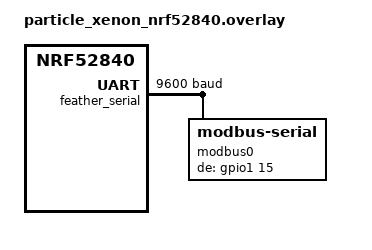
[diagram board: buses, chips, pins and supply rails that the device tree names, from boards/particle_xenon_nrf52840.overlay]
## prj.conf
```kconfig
CONFIG_LOG=y
CONFIG_USE_SEGGER_RTT=y
CONFIG_RTT_CONSOLE=y
CONFIG_UART_CONSOLE=n
CONFIG_GPIO=y
CONFIG_SERIAL=y
CONFIG_UART_INTERRUPT_DRIVEN=y
CONFIG_UART_LINE_CTRL=n

CONFIG_MODBUS=y
CONFIG_MODBUS_ROLE_CLIENT=y

CONFIG_MODBUS_LOG_LEVEL_DBG=y
```

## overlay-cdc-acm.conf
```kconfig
CONFIG_USB_DEVICE_STACK=y
CONFIG_USB_DEVICE_PRODUCT="Zephyr CDC ACM MODBUS sample"
CONFIG_UART_LINE_CTRL=n
CONFIG_USB_DEVICE_INITIALIZE_AT_BOOT=y
```

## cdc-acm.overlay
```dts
/ {
	chosen {
		zephyr,console = &cdc_acm_uart0;
		zephyr,shell-uart = &cdc_acm_uart0;
	};
};

&zephyr_udc0 {
	cdc_acm_uart0: cdc_acm_uart0 {
		compatible = "zephyr,cdc-acm-uart";

	};
};
```

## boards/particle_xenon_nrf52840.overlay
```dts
&feather_serial {
	status = "okay";
    current-speed = <9600>;

	modbus0 {
		compatible = "zephyr,modbus-serial";
		status = "okay";
		de-gpios = <&gpio1 15 GPIO_ACTIVE_HIGH>;	/* D13 */
	};
};
```

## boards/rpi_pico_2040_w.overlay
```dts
&uart1 {
    status = "okay";
    current-speed = <9600>;
    pinctrl-0 = <&uart1_default>;
    pinctrl-names = "default";

    modbus0 {
        compatible = "zephyr,modbus-serial";
        status = "okay";
        de-gpios = <&pico_header 14 GPIO_ACTIVE_HIGH>;
        // re-gpios = <&pico_header 15 GPIO_ACTIVE_LOW>;
    };
};

&pinctrl {
    uart1_default: uart1_default {
        group1 {
            pinmux = <UART1_TX_P4>;
        };
        group2 {
            pinmux = <UART1_RX_P5>;
            input-enable;
        };
    };
};
```

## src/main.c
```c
/*
 * Copyright (c) 2020 PHYTEC Messtechnik GmbH
 *
 * SPDX-License-Identifier: Apache-2.0
 */

#include <zephyr/kernel.h>
#include <zephyr/sys/util.h>
#include <zephyr/modbus/modbus.h>

#include <zephyr/logging/log.h>
LOG_MODULE_REGISTER(mbc_sample, LOG_LEVEL_INF);

static int client_iface;

const static struct modbus_iface_param client_param = {
	.mode = MODBUS_MODE_RTU,
	.rx_timeout = 50000,
	.serial = {
		.baud = 9600,
		.parity = UART_CFG_PARITY_NONE,
		.stop_bits = UART_CFG_STOP_BITS_1
	},
};

#define MODBUS_NODE DT_COMPAT_GET_ANY_STATUS_OKAY(zephyr_modbus_serial)

static int init_modbus_client(void)
{
	const char iface_name[] = {DEVICE_DT_NAME(MODBUS_NODE)};

	client_iface = modbus_iface_get_by_name(iface_name);

	return modbus_init_client(client_iface, client_param);
}

int main(void)
{
	uint16_t result[2];
	// const int32_t sleep = 250;
	static uint8_t node = 1;
	int err;


	if (init_modbus_client()) {
		LOG_ERR("Modbus RTU client initialization failed");
		return 0;
	}

	// err = modbus_read_holding_regs(client_iface, node, 0x0101, result, 1);
	err = modbus_read_input_regs(client_iface, node, 0x01, result, 2);
	if (err != 0) {
		LOG_ERR("FC04 failed with %d", err);
		return 0;
	}

	LOG_HEXDUMP_INF(result, sizeof(result),
			"WR|RD holding register:");
	LOG_INF("Temperature: %d", result[0]);
}
```
